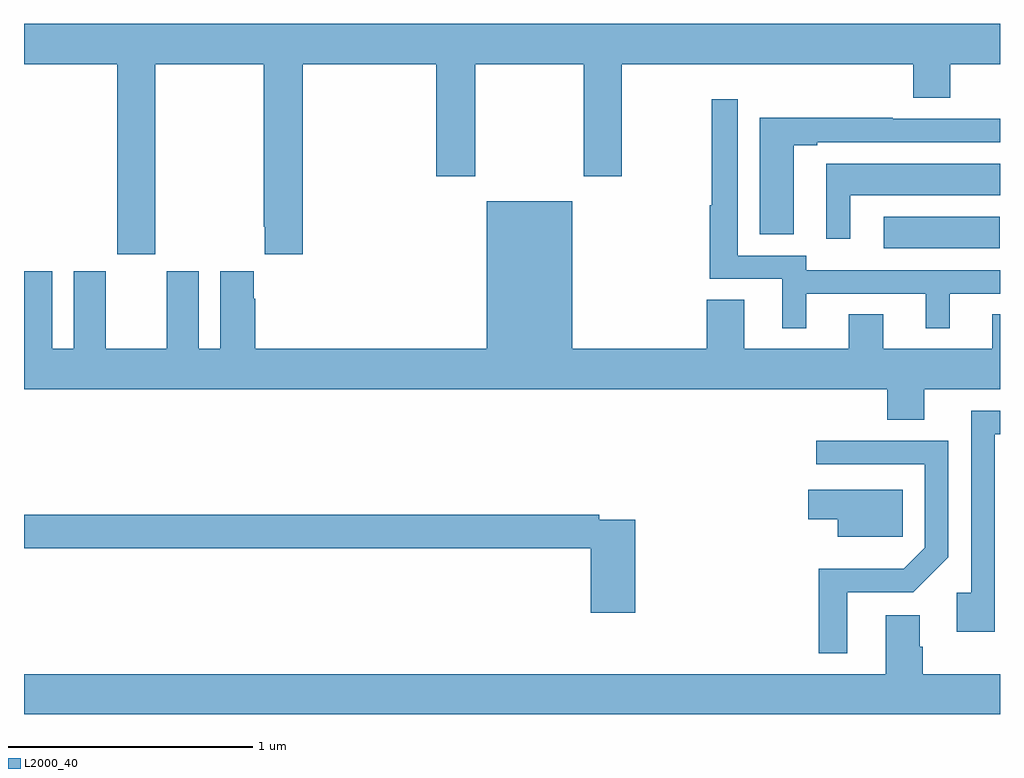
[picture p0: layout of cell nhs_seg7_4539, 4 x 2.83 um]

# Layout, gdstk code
import gdstk
lib = gdstk.Library(unit=1e-6, precision=1e-09)
def R(c, l, rs):  # rectangles x0, y0, x1, y1
    for r in rs: c.add(gdstk.rectangle(r[:2], r[2:], *l))
def P(c, l, *ps):  # polygons
    for p in ps: c.add(gdstk.Polygon(p, *l))
L2000_40 = (2000, 40)

nhs_seg7_4539 = lib.new_cell('nhs_seg7_4539')
R(nhs_seg7_4539, L2000_40, [(398.523,1070.456,398.998,1070.587)])
P(nhs_seg7_4539, L2000_40, [(395,1071.212),(395.383,1071.212),(395.383,1070.433),(395.538,1070.433),(395.538,1071.212),(395.983,1071.212),(395.983,1070.545),(395.987,1070.545),(395.987,1070.433),(396.143,1070.433),(396.143,1071.212),(396.689,1071.212),(396.689,1070.751),(396.849,1070.751),(396.849,1071.212),(397.294,1071.212),(397.294,1070.751),(397.449,1070.751),(397.449,1071.212),(398.645,1071.212),(398.645,1071.073),(398.797,1071.073),(398.797,1071.212),(399,1071.212),(399,1071.376),(395,1071.376)],
  [(398.206,1070.271),(398.696,1070.271),(398.696,1070.13),(398.794,1070.13),(398.794,1070.271),(399,1070.271),(399,1070.367),(398.205,1070.367),(398.205,1070.427),(397.926,1070.427),(397.926,1071.067),(397.818,1071.067),(397.818,1070.634),(397.81,1070.634),(397.81,1070.331),(398.108,1070.331),(398.108,1070.13),(398.206,1070.13)],
  [(398.155,1070.88),(398.251,1070.88),(398.251,1070.892),(399,1070.892),(399,1070.988),(398.561,1070.988),(398.561,1070.991),(398.015,1070.991),(398.015,1070.514),(398.155,1070.514)],
  [(398.386,1070.675),(399,1070.675),(399,1070.803),(398.288,1070.803),(398.288,1070.496),(398.386,1070.496)],
  [(398.521,1070.186),(398.381,1070.186),(398.381,1070.044),(397.951,1070.044),(397.951,1070.246),(397.799,1070.246),(397.799,1070.044),(397.246,1070.044),(397.246,1070.65),(396.896,1070.65),(396.896,1070.044),(395.948,1070.044),(395.948,1070.249),(395.941,1070.249),(395.941,1070.362),(395.804,1070.362),(395.804,1070.044),(395.716,1070.044),(395.716,1070.362),(395.585,1070.362),(395.585,1070.044),(395.335,1070.044),(395.335,1070.362),(395.204,1070.362),(395.204,1070.044),(395.116,1070.044),(395.116,1070.362),(395,1070.362),(395,1069.88),(398.537,1069.88),(398.537,1069.753),(398.689,1069.753),(398.689,1069.88),(399,1069.88),(399,1070.186),(398.969,1070.186),(398.969,1070.044),(398.521,1070.044)],
  [(398.979,1069.695),(399,1069.695),(399,1069.791),(398.883,1069.791),(398.883,1069.046),(398.823,1069.046),(398.823,1068.885),(398.979,1068.885)],
  [(398.374,1069.047),(398.644,1069.047),(398.787,1069.19),(398.787,1069.668),(398.247,1069.668),(398.247,1069.572),(398.691,1069.572),(398.691,1069.23),(398.605,1069.144),(398.257,1069.144),(398.257,1068.798),(398.374,1068.798)],
  [(398.601,1069.468),(398.214,1069.468),(398.214,1069.346),(398.336,1069.346),(398.336,1069.274),(398.601,1069.274)],
  [(397.505,1069.344),(397.358,1069.344),(397.358,1069.364),(395,1069.364),(395,1069.228),(397.322,1069.228),(397.322,1068.963),(397.505,1068.963)],
  [(399,1068.712),(398.684,1068.712),(398.684,1068.824),(398.671,1068.824),(398.671,1068.952),(398.531,1068.952),(398.531,1068.712),(395,1068.712),(395,1068.548),(399,1068.548)])

lib.write_gds('nhs_seg7_4539.gds')
